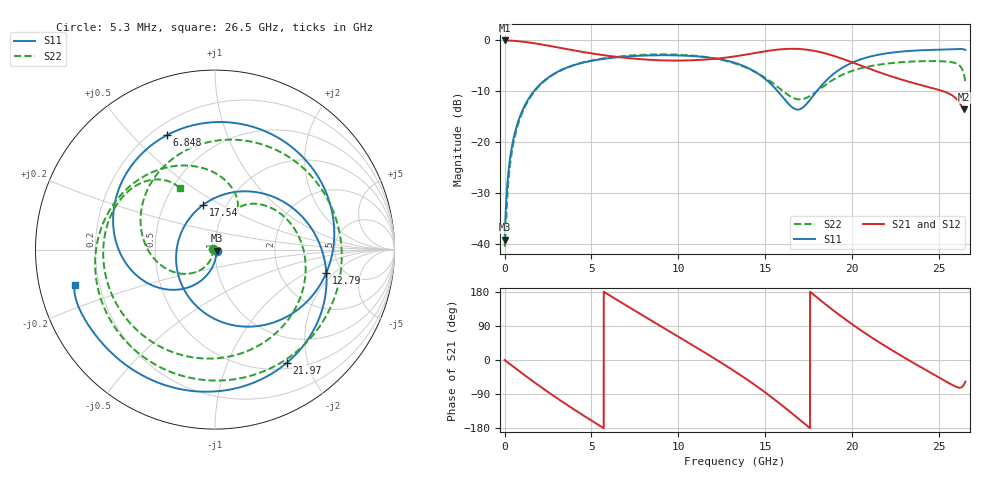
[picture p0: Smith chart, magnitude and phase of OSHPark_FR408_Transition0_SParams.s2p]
! TOUCHSTONE file generated by CST MICROWAVE STUDIO
! Date and time: Mon Jan  6 12:12:26 2020
! Project name: OSHPark_FR408_Transition_0.cst
! Parameters = {BottomSupport_Left_YMax=4.76; BottomSupport_Left_YMin=3.74; BottomSupport_Right_YMax=-3.74; BottomSupport_Right_YMin=-4.76; BottomSupport_XMax=11.64; BottomSupport_XMin=6.89; BottomSupport_ZMax=-1.64084; BottomSupport_ZMin=-3.58; Cu1_Thickness=0.03556; Cu2_Thickness=0.01778; Fr408Cor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
! Header version: 2015
! Port assignment regex: !\s*Touchstone port\s*([0-9]+)\s*=\s*CST MWS port\s*([0-9]+)\s*\(\"(.*)\"\)(\s*mode\s*([0-9]+))?.*
! Touchstone port assignment:
! Touchstone port 1 = CST MWS port 1 ("")
! Touchstone port 2 = CST MWS port 2 ("")
# GHz S MA R 50
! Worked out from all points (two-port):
!   5000 points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, 5.3 MHz to 26.5 GHz, reference 50 ohm
!   highest |S21| = 0.00 dB at 5.3 MHz (marker M1); lowest = -13.5 dB at 26.42 GHz (marker M2)
!   |S21| within 3 dB of the highest: start of sweep to 5.926 GHz; 13.49 GHz to 18.91 GHz (5.413 GHz wide, 33.4 % of centre)
!   lowest |S11| = -39.1 dB at 5.3 MHz (marker M3), VSWR 1.02, Z = 50.9 - j0.594 ohm
!   |S11| at or under -10 dB: start of sweep to 1.682 GHz; 15.72 GHz to 17.94 GHz (2.229 GHz wide, 13.2 % of centre)
!   |S22| runs from -40.4 to -2.7 dB; largest |S21 - S12| = 0
!   S11 on the Smith chart (normalised r, x): 5.3 MHz: 1.02, -0.01; 6.848 GHz: 0.26, +0.64; 12.79 GHz: 3.69, -1.62; 17.54 GHz: 0.78, +0.42; 21.97 GHz: 0.58, -1.67; 26.5 GHz: 0.11, -0.12
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0.0053  0.01107 -31.8  0.9999 -0.2  0.9999 -0.2  0.01042 155.0
0.4134  0.0882 -96.4  0.9942 -14.4  0.9942 -14.4  0.07863 -115.5
1.0865  0.2157 -118.4  0.9713 -37.7  0.9713 -37.7  0.2069 -139.3
2.5811  0.4404 -157.8  0.8845 -87.0  0.8845 -87.0  0.4359 161.8
4.4255  0.6004 160.7  0.7742 -143.1  0.7742 -143.1  0.6033 91.5
5.5279  0.6533 138.3  0.7233 -174.9  0.7233 -174.9  0.6608 50.6
6.8476  0.6918 112.6  0.6781 148.0  0.6781 148.0  0.7036 2.7
8.8404  0.7156 74.2  0.6398 93.2  0.6398 93.2  0.7302 -67.7
11.0876  0.6971 28.3  0.642 31.5  0.642 31.5  0.7047 -144.2
12.7889  0.633 -12.0  0.6804 -16.7  0.6804 -16.7  0.6262 159.3
13.2553  0.6022 -24.5  0.6978 -30.5  0.6978 -30.5  0.5932 144.1
15.5078  0.3459 -103.1  0.8056 -103.6  0.8056 -103.6  0.372 77.6
17.543  0.2585 104.5  0.8048 -179.1  0.8048 -179.1  0.2837 58.7
17.6702  0.2755 95.8  0.7985 176.2  0.7985 176.2  0.2929 57.3
19.504  0.5494 12.6  0.6538 110.3  0.6538 110.3  0.4664 11.2
21.9685  0.7469 -57.5  0.4599 34.5  0.4599 34.5  0.5924 -71.1
22.0851  0.7519 -60.4  0.4529 31.2  0.4529 31.2  0.5955 -75.0
23.373  0.7908 -90.6  0.3878 -3.9  0.3878 -3.9  0.62 -117.0
24.8093  0.8103 -122.7  0.3333 -41.7  0.3333 -41.7  0.6265 -164.2
25.7898  0.819 -145.2  0.2851 -66.9  0.2851 -66.9  0.6081 159.8
26.4205  0.8174 -163.2  0.2115 -64.3  0.2115 -64.3  0.4604 124.2
26.5  0.8055 -166.2  0.222 -57.1  0.222 -57.1  0.3904 119.7
